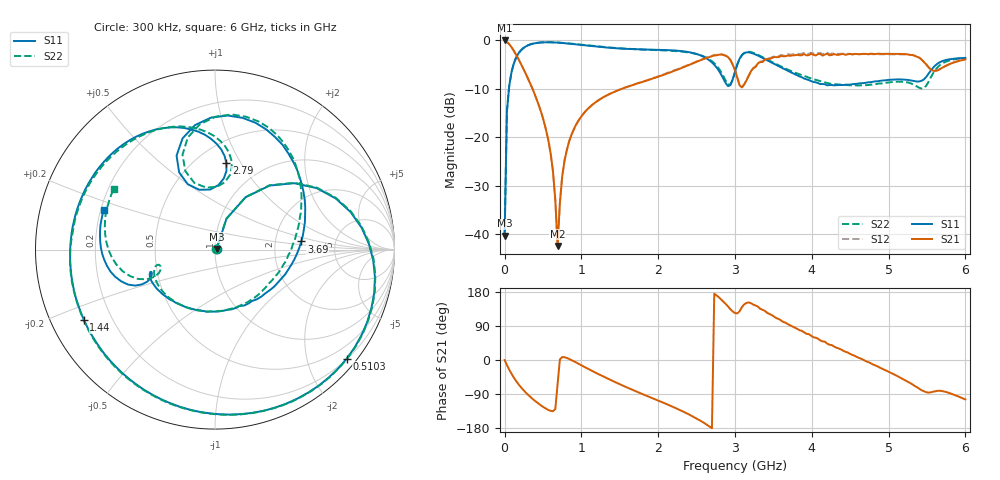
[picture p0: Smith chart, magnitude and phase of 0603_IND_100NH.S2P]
!Agilent Technologies,E5071C,MY46106283,A.09.10
!Date: Wed Jan 24 00:02:57 2001
!Data & Calibration Information:
!Freq	S11:SOLT2(ON)	S41:SOLT2(ON)	S14:SOLT2(ON)	S44:SOLT2(ON)
# Hz S dB R 50
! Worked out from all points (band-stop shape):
!   201 points, 300 kHz to 6 GHz, reference 50 ohm
!   highest |S21| = -0.04 dB at 300 kHz (marker M1); lowest = -42.5 dB at 690.3 MHz (marker M2)
!   |S21| within 3 dB of the highest: start of sweep to 151.9 MHz; 4.256 GHz to 5.311 GHz (1.055 GHz wide, 22.1 % of centre)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
!   lowest |S11| = -40.4 dB at 300 kHz (marker M3), VSWR 1.02, Z = 50.9 + j0.306 ohm
!   |S11| at or under -10 dB: start of sweep to 56.95 MHz
!   |S22| runs from -40.5 to -0.4 dB; largest |S21 - S12| = 0.036
!   S11 on the Smith chart (normalised r, x): 300 kHz: 1.02, +0.01; 510.3 MHz: 0.21, -2.76; 1.44 GHz: 0.10, -0.25; 2.79 GHz: 0.69, +0.87; 3.69 GHz: 2.82, +0.33; 6 GHz: 0.21, +0.16
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300000  -40.39 18.3  -0.04 -0.3  -0.12 -0.1  -40.46 38.3
3.02985e7  -14.70 69.6  -0.35 -13.4  -0.35 -13.3  -14.71 69.7
9.02955e7  -6.57 49.5  -1.43 -36.3  -1.42 -36.3  -6.56 49.7
2.702865e8  -1.33 2.1  -6.73 -84.7  -6.73 -84.7  -1.32 2.6
5.102745e8  -0.42 -39.6  -16.71 -124.9  -16.70 -124.9  -0.41 -38.5
6.302685e8  -0.43 -57.0  -27.13 -135.1  -27.14 -135.0  -0.41 -55.4
6.902655e8  -0.49 -65.2  -42.52 -64.8  -42.53 -65.3  -0.45 -63.4
7.80261e8  -0.60 -77.1  -24.88 7.4  -24.89 7.5  -0.57 -75.0
1.020249e9  -1.00 -106.4  -15.28 -16.1  -15.30 -15.9  -0.94 -103.9
1.440228e9  -1.63 -151.8  -10.56 -58.4  -10.56 -57.9  -1.59 -149.5
2.0102e9  -1.97 155.2  -7.45 -107.8  -7.36 -107.3  -2.03 155.3
2.460177e9  -2.66 113.3  -4.72 -150.0  -4.64 -150.0  -2.70 112.2
2.79016e9  -6.28 82.5  -2.98 165.5  -2.90 165.9  -5.86 79.8
3.00015e9  -6.47 114.9  -6.21 124.0  -6.15 123.9  -6.61 110.7
3.180141e9  -2.50 78.2  -7.28 151.9  -7.23 151.8  -2.38 76.7
3.690116e9  -6.32 5.4  -3.14 94.5  -2.84 94.7  -6.08 18.7
4.020099e9  -8.60 -40.9  -3.00 60.1  -2.70 59.7  -8.00 -9.7
4.560072e9  -9.03 -110.4  -2.83 11.0  -2.76 8.6  -9.29 -70.2
5.01005e9  -8.17 -146.2  -2.79 -32.1  -2.89 -33.1  -8.70 -129.4
5.340033e9  -8.44 -161.0  -3.20 -68.6  -3.19 -69.0  -9.28 -164.3
5.61002e9  -5.17 -161.3  -6.32 -82.5  -6.34 -83.2  -6.10 -162.6
6e9  -3.63 160.6  -3.95 -104.0  -3.86 -104.8  -3.64 149.1
